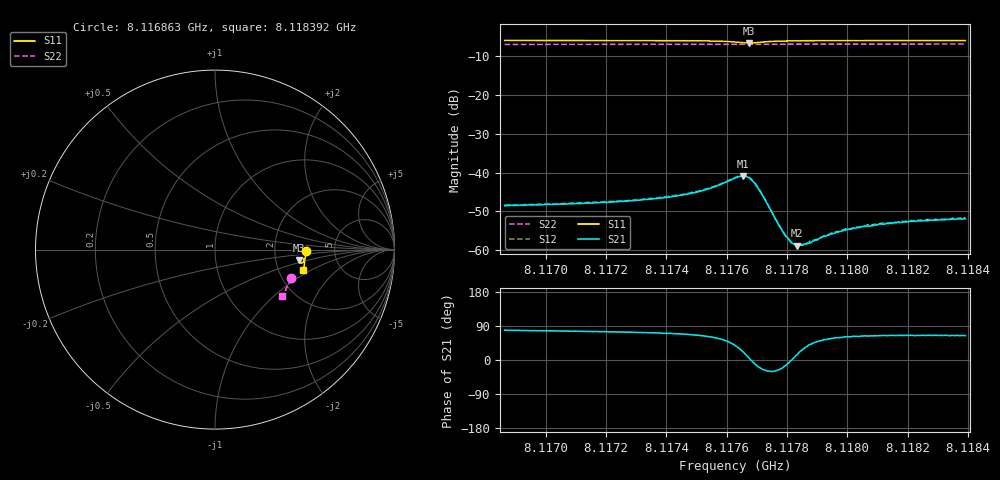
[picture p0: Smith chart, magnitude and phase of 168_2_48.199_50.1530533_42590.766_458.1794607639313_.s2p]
#  HZ  S  RI  R  50.00
! Rohde & Schwarz Vector Network Analyzer
! Rohde-Schwarz,ZNB20-2Port,1311601062101988,3.16
! Created: UTC 3/20/2024, 11:43:36 AM
! freq[Hz]  re:S11  im:S11  re:S21  im:S21  re:S12  im:S12  re:S22  im:S22
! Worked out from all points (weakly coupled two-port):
!   401 points, 8.116863 GHz to 8.118392 GHz, reference 50 ohm
!   highest |S21| = -40.90 dB at 8.117654 GHz (marker M1); lowest = -58.9 dB at 8.117834 GHz (marker M2)
!   lowest |S11| = -6.6 dB at 8.117673 GHz (marker M3), VSWR 2.77, Z = 135 - j20.4 ohm
!   |S11| at or under -10 dB: nowhere
!   |S22| runs from -6.9 to -6.8 dB; largest |S21 - S12| = 0.00023
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8.116863e9  0.5063 -0.00651  0.00072 0.00367  0.000809 0.00376  0.4209 -0.1603
8.1171191e9  0.505 -0.0267  0.000992 0.00387  0.00107 0.00396  0.4148 -0.1771
8.1173753e9  0.5023 -0.0484  0.00149 0.00442  0.00161 0.0045  0.4082 -0.1938
8.1175129e9  0.4977 -0.0629  0.0025 0.00522  0.00257 0.00525  0.4041 -0.2028
8.1175626e9  0.493 -0.0692  0.00346 0.00564  0.00358 0.00576  0.4024 -0.206
8.1176276e9  0.4778 -0.0748  0.00661 0.00529  0.00677 0.00533  0.3998 -0.2099
8.1176543e9  0.4681 -0.0688  0.00838 0.00333  0.00856 0.00329  0.3987 -0.2112
8.1176734e9  0.4656 -0.059  0.00855 0.000869  0.00872 0.000798  0.3981 -0.2117
8.1176887e9  0.4688 -0.0513  0.00755 -0.00092  0.00769 -0.00101  0.398 -0.2124
8.117704e9  0.4747 -0.0468  0.00601 -0.00189  0.00613 -0.00197  0.398 -0.2134
8.117769e9  0.4935 -0.0529  0.00201 -0.00102  0.00202 -0.00103  0.3967 -0.2176
8.1177919e9  0.4957 -0.0565  0.00152 -0.00043  0.00155 -0.000487  0.396 -0.2192
8.1178149e9  0.4971 -0.0602  0.00123 -1.86e-05  0.00127 -3.11e-05  0.3956 -0.2207
8.117834e9  0.4978 -0.063  0.0011 0.000271  0.00114 0.000308  0.3949 -0.2219
8.1178607e9  0.4983 -0.0665  0.000999 0.000665  0.00101 0.000642  0.394 -0.2236
8.1178837e9  0.4985 -0.0692  0.000948 0.000879  0.00101 0.000868  0.3932 -0.2252
8.1179257e9  0.4986 -0.0738  0.000893 0.00122  0.000913 0.00124  0.3919 -0.2279
8.1179984e9  0.498 -0.0808  0.000886 0.00162  0.000931 0.00161  0.3896 -0.2323
8.118071e9  0.4972 -0.0871  0.000908 0.00182  0.000954 0.00189  0.3869 -0.237
8.1181398e9  0.4964 -0.093  0.000949 0.00202  0.000936 0.002  0.3848 -0.2413
8.1182354e9  0.4948 -0.1006  0.00102 0.00216  0.00104 0.00219  0.3813 -0.2469
8.1183921e9  0.4922 -0.1127  0.0011 0.00228  0.00113 0.00233  0.3757 -0.2563
